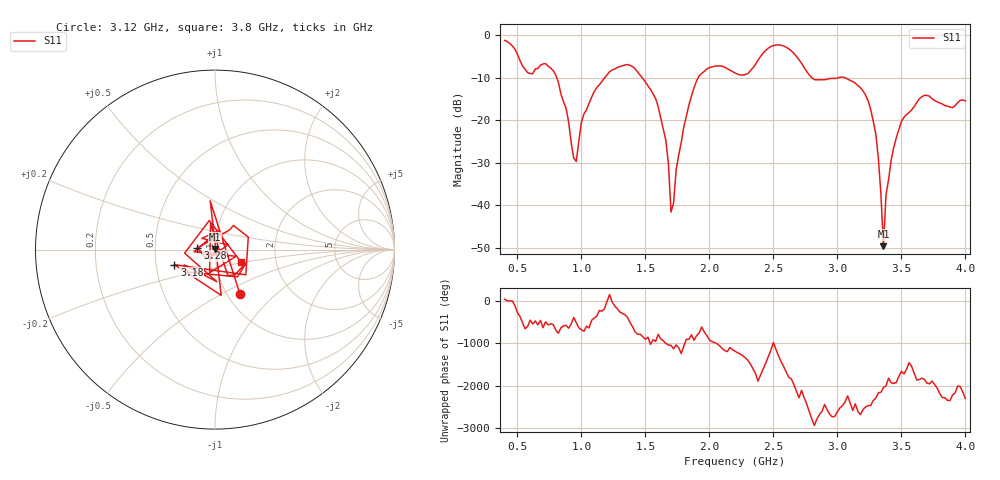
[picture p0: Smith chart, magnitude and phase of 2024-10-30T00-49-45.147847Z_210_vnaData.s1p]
!Created with skrf (http://scikit-rf.org).
# Hz S RI R 50.0
!freq ReS11 ImS11
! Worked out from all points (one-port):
!   181 points, 400 MHz to 4 GHz, reference 50 ohm
!   lowest |S11| = -49.6 dB at 3.36 GHz (marker M1), VSWR 1.01, Z = 49.8 + j0.293 ohm
!   |S11| at or under -10 dB: 807.4 MHz to 1.182 GHz (374.6 MHz wide, 37.7 % of centre); 1.476 GHz to 1.912 GHz (436.5 MHz wide, 25.8 % of centre); 3.06 GHz to end of sweep (the widest 3 of 4)
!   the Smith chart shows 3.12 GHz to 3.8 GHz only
!   S11 on the Smith chart (normalised r, x): 3.12 GHz: 1.14, -0.62; 3.18 GHz: 0.62, -0.11; 3.28 GHz: 0.82, +0.02; 3.8 GHz: 1.32, -0.19
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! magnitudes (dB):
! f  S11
! 400 MHz  -1.2
! 580 MHz  -8.8
! 780 MHz  -8.3
! 860 MHz  -15.6
! 960 MHz  -29.7
! 1.02 GHz  -18.5
! 1.3 GHz  -7.4
! 1.58 GHz  -14.9
! 1.66 GHz  -24.8
! 1.7 GHz  -41.6
! 1.76 GHz  -28.2
! 1.92 GHz  -9.6
! 2.2 GHz  -8.9
! 2.5 GHz  -2.4
! 2.66 GHz  -4.3
! 2.82 GHz  -10.4
! 3.1 GHz  -10.6
! 3.12 GHz  -10.9
! 3.18 GHz  -12.4
! 3.28 GHz  -20.2
! 3.32 GHz  -28.9
! 3.36 GHz  -49.6
! 3.38 GHz  -37.4
! 3.42 GHz  -29.4
! 3.56 GHz  -18.2
! 3.68 GHz  -14.1
! 3.8 GHz  -15.9
! 4 GHz  -15.4
